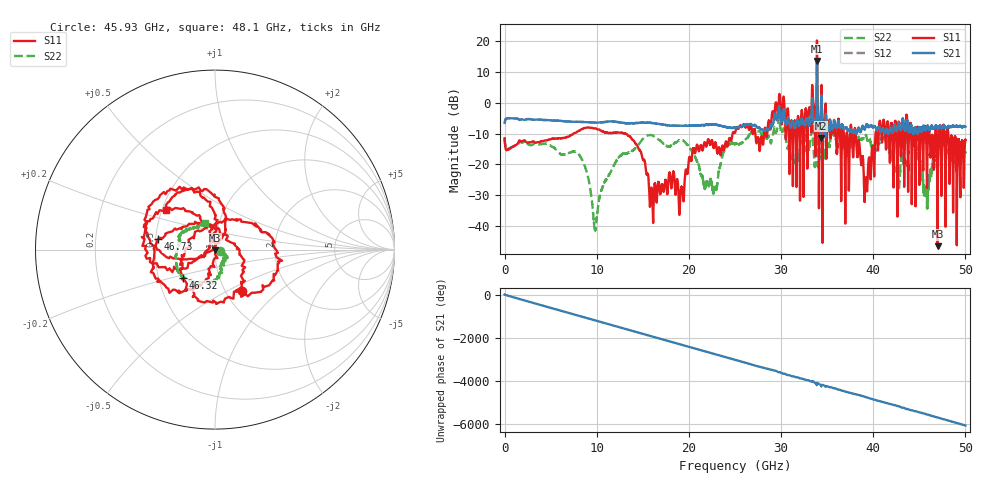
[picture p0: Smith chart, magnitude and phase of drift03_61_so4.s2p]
!Created with skrf (http://scikit-rf.org).
# Hz S RI R 50.0
!freq ReS11 ImS11 ReS21 ImS21 ReS12 ImS12 ReS22 ImS22
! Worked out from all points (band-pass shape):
!   10001 points, 300 kHz to 50 GHz, reference 50 ohm
!   highest |S21| = 13.56 dB at 33.9 GHz (marker M1); lowest = -11.4 dB at 34.32 GHz (marker M2)
!   |S21| within 3 dB of the highest: 33.88991 GHz to 33.90468 GHz (14.77 MHz wide, 0.0436 % of centre)
!   lowest |S11| = -46.5 dB at 46.99 GHz (marker M3), VSWR 1.01, Z = 50.1 - j0.454 ohm
!   |S11| at or under -10 dB: start of sweep to 7.487 GHz; 13.13 GHz to 24.74 GHz (11.61 GHz wide, 61.3 % of centre); 38.09 GHz to 40.26 GHz (2.164 GHz wide, 5.52 % of centre) (the widest 3 of 48)
!   |S22| runs from -41.6 to 6.0 dB; largest |S21 - S12| = 0.35
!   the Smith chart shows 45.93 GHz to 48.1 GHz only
!   S11 on the Smith chart (normalised r, x): 45.93 GHz: 1.19, -0.60; 46.32 GHz: 0.67, -0.22; 46.73 GHz: 0.51, +0.07; 48.1 GHz: 0.52, +0.27
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300000  -0.2355 -0.1223  0.4655 0.0803  0.465 0.0806  -0.2354 -0.1267
1.440291e9  0.21 0.0649  -0.5477 -0.0294  -0.5481 -0.0293  0.2114 -0.00407
2.915283e9  -0.2121 -0.088  0.5337 0.0518  0.5345 0.0511  -0.2017 0.0404
4.415274e9  0.2055 0.1322  -0.5214 -0.0422  -0.5217 -0.0418  0.1987 -0.0875
8.33525e9  0.2886 -0.2336  0.1461 0.466  0.1464 0.4663  -0.0724 -0.1018
9.840241e9  -0.3647 0.1256  -0.1434 -0.4534  -0.1433 -0.4538  0.0087 0.00214
1.66702e10  0.0272 0.0431  -0.3777 0.2539  -0.3783 0.2539  -0.1284 -0.2195
2.500015e10  -0.3267 -0.0144  -0.2556 -0.2966  -0.2539 -0.2984  -0.2118 0.0291
2.895013e10  -0.3207 0.4226  -0.2912 0.3248  -0.3034 0.2886  0.0634 0.222
3.006512e10  0.4009 0.2635  0.4502 -0.1974  0.4529 -0.1835  0.1748 -0.2973
3.171011e10  -0.0935 0.1873  -0.3614 0.3593  -0.363 0.357  0.0662 0.1604
3.33351e10  0.6362 -0.8439  0.2428 -0.8544  0.2486 -0.8352  -0.1934 -0.4242
3.38951e10  -2.486 -9.915  -4.692 0.8227  -4.396 1.015  0.5234 1.928
3.432009e10  -0.7792 -0.00187  -0.1793 0.2011  -0.2419 0.1803  0.1418 -0.0759
3.918506e10  0.0553 0.0132  0.2105 -0.3483  0.2153 -0.3407  -0.2685 -0.13
4.167005e10  -0.2063 0.2996  0.3163 -0.000264  0.3147 0.00743  -0.188 -0.0135
4.593002e10  0.1506 -0.2329  -0.3563 -0.212  -0.3549 -0.212  0.0301 -0.0102
4.632002e10  -0.1788 -0.1582  -0.3872 0.1596  -0.3902 0.1508  0.0503 -0.0525
4.673002e10  -0.32 0.0574  -0.1015 0.3919  -0.1045 0.394  -0.0155 -0.1808
4.699002e10  0.00133 -0.00453  0.0985 0.3732  0.0973 0.3713  -0.1334 -0.1753
4.810001e10  -0.2746 0.2224  0.2038 -0.3533  0.2045 -0.3527  -0.0573 0.1496
5e10  -0.1149 -0.2235  0.1427 0.3841  0.1444 0.3831  -0.0518 -0.1439
